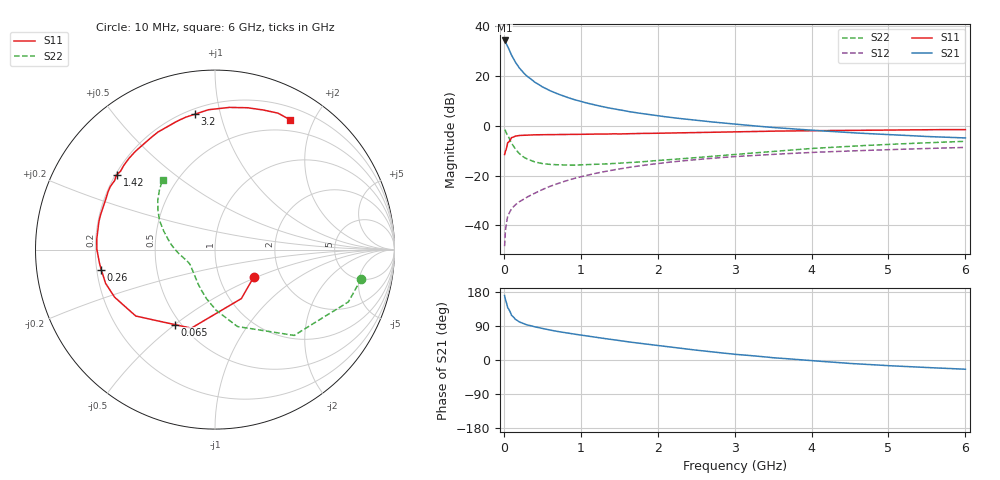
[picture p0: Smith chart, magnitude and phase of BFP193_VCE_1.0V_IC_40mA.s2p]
! Infineon Technologies  Discrete & RF Semiconductors
! BFP193
! VCE = 1.0 V,  IC =  40 mA
! Common Emitter S-Parameters:  Jan 2016
# GHz  S  MA  R  50
!  f  S11  S21  S12  S22
! GHz  MAG  ANG  MAG  ANG  MAG  ANG  MAG  ANG
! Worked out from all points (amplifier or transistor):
!   210 points, 10 MHz to 6 GHz, reference 50 ohm
!   highest |S21| = 34.3 dB at 10 MHz (marker M1)
!   |S21| within 3 dB of that: start of sweep to 59.13 MHz
!   unconditionally stable (mu >= 1): 411.1 MHz to 5.272 GHz; 5.685 GHz to end of sweep
!   at 185 MHz: K = 0.72, MSG = 27.5 dB, |S12| = -30.9 dB
!   at 1.52 GHz: K = 1.13, MAG = 9.6 dB, |S12| = -17.3 dB
!   at 6 GHz: K = 1.01, MAG = 1.4 dB, |S12| = -8.7 dB
!   S11 on the Smith chart (normalised r, x): 10 MHz: 1.46, -0.47; 65 MHz: 0.46, -0.50; 260 MHz: 0.22, -0.08; 1.42 GHz: 0.21, +0.33; 3.2 GHz: 0.23, +0.84; 6 GHz: 0.35, +1.68
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0.01  0.2643 -34.7  51.82 170.2  0.0038 80.4  0.8315 -11.2
0.02  0.3099 -61.7  49.05 159.9  0.0075 76.0  0.7983 -21.4
0.05  0.4572 -106.8  39.35 138.2  0.0151 59.8  0.6506 -47.3
0.065  0.4742 -118.3  35.02 133.7  0.017 56.2  0.5786 -53.2
0.1  0.576 -140.0  26.18 117.9  0.0215 50.4  0.4468 -73.7
0.15  0.619 -154.6  18.88 107.2  0.0258 50.2  0.338 -88.9
0.2  0.6377 -162.8  14.63 100.6  0.0296 52.2  0.2771 -99.9
0.26  0.6439 -170.0  11.44 95.5  0.0335 54.0  0.2335 -110.0
0.3  0.648 -173.3  9.958 92.7  0.0366 55.9  0.2161 -115.3
0.4  0.6584 179.8  7.557 87.6  0.0439 59.0  0.188 -125.9
0.5  0.6613 174.9  6.059 83.2  0.052 60.5  0.1738 -133.8
0.6  0.6621 170.5  5.069 79.0  0.0606 61.7  0.1674 -139.4
0.7  0.6654 166.1  4.37 75.2  0.0687 62.2  0.1641 -143.7
0.82  0.6661 162.0  3.74 71.4  0.0791 61.7  0.1626 -148.0
1.02  0.6714 154.5  3.023 65.1  0.096 60.9  0.1641 -153.7
1.42  0.687 142.5  2.2 53.7  0.1289 57.1  0.174 -161.7
2.02  0.7078 125.7  1.574 37.7  0.1753 49.5  0.2009 -172.9
3.1  0.7587 100.4  1.045 13.5  0.2449 34.9  0.272 166.5
3.2  0.7627 98.4  1.013 11.8  0.2502 33.6  0.2797 164.8
4.1  0.7981 82.8  0.796 -3.2  0.2954 22.3  0.3567 150.7
5.1  0.8253 69.7  0.654 -15.9  0.3344 10.9  0.4288 137.6
6  0.8356 60.0  0.569 -24.4  0.3671 1.2  0.4865 126.9
